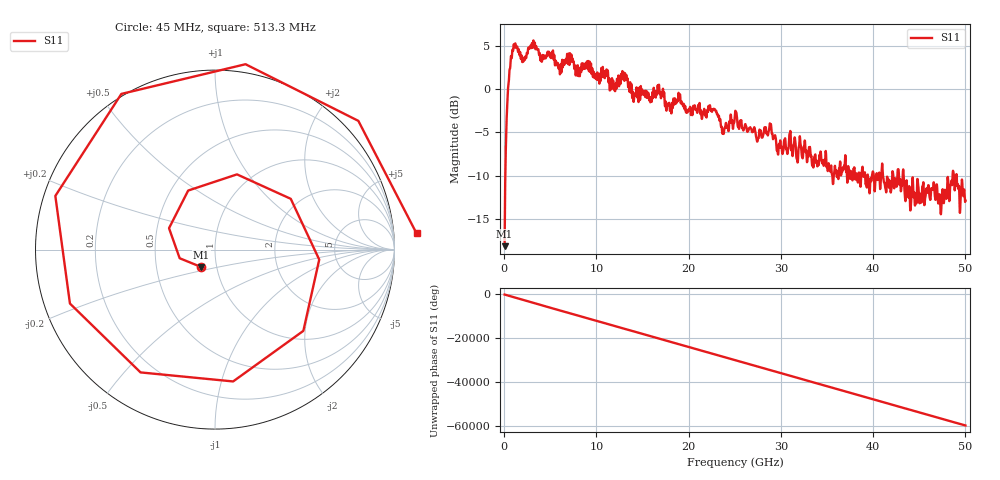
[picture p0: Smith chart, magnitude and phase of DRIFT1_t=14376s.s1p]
!Created with skrf (http://scikit-rf.org).
# Hz S RI R 50.0
!freq ReS11 ImS11
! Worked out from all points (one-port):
!   1601 points, 45 MHz to 50 GHz, reference 50 ohm
!   lowest |S11| = -18.2 dB at 45 MHz (marker M1), VSWR 1.28, Z = 42.1 - j8.31 ohm
!   |S11| at or under -10 dB: 41.06 GHz to 42.06 GHz (1.001 GHz wide, 2.41 % of centre); 43.31 GHz to 48.62 GHz (5.309 GHz wide, 11.6 % of centre); 49.05 GHz to end of sweep (the widest 3 of 24)
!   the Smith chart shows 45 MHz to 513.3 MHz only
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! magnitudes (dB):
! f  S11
! 45 MHz  -18.2
! 450.9 MHz  0.4
! 981.7 MHz  4.5
! 2.168 GHz  3.6
! 3.23 GHz  4.8
! 6.289 GHz  3.4
! 7.195 GHz  3.1
! 7.975 GHz  2.7
! 12.53 GHz  1.4
! 13.03 GHz  0.9
! 14.09 GHz  -0.8
! 18.78 GHz  -1.2
! 22.81 GHz  -2.4
! 23.74 GHz  -5.0
! 25.02 GHz  -2.8
! 27.43 GHz  -6.1
! 28.86 GHz  -4.1
! 29.77 GHz  -6.4
! 31.27 GHz  -7.8
! 35.54 GHz  -9.9
! 37.51 GHz  -10.4
! 39.42 GHz  -9.9
! 42.69 GHz  -9.3
! 43.76 GHz  -11.5
! 46.69 GHz  -12.4
! 47.22 GHz  -12.3
! 48.84 GHz  -11.7
! 50 GHz  -12.9
